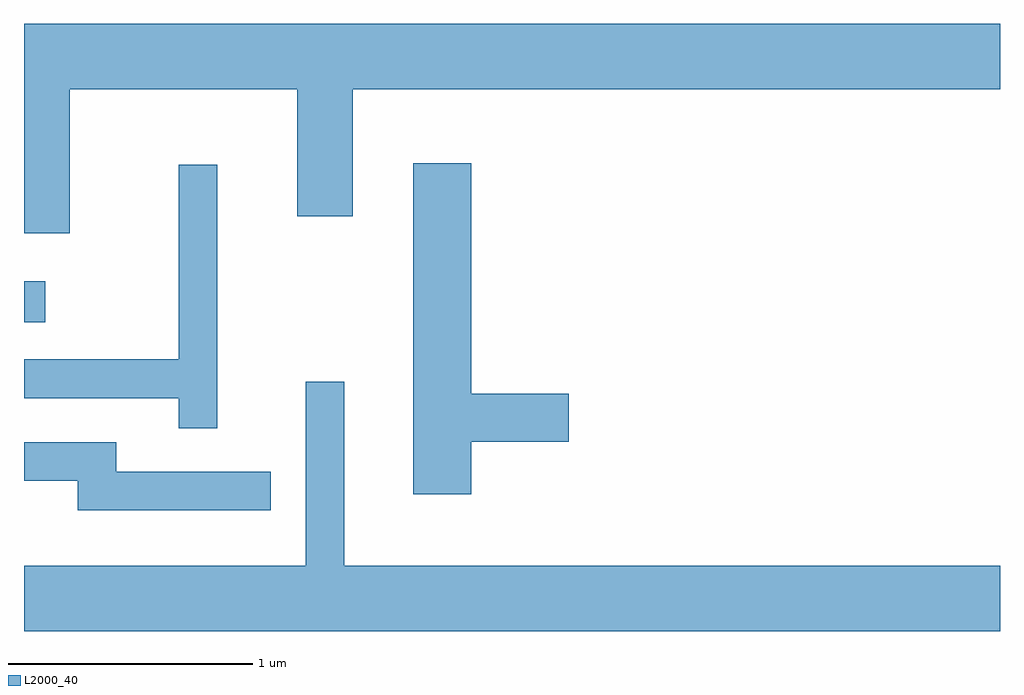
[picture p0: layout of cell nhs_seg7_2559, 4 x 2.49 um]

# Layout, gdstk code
import gdstk
lib = gdstk.Library(unit=1e-6, precision=1e-09)
def R(c, l, rs):  # rectangles x0, y0, x1, y1
    for r in rs: c.add(gdstk.rectangle(r[:2], r[2:], *l))
def P(c, l, *ps):  # polygons
    for p in ps: c.add(gdstk.Polygon(p, *l))
L2000_40 = (2000, 40)

nhs_seg7_2559 = lib.new_cell('nhs_seg7_2559')
R(nhs_seg7_2559, L2000_40, [(263.611,1715.581,263.698,1715.749)])
P(nhs_seg7_2559, L2000_40, [(263.799,1716.536),(264.731,1716.536),(264.731,1716.016),(264.959,1716.016),(264.959,1716.536),(267.611,1716.536),(267.611,1716.804),(263.611,1716.804),(263.611,1715.946),(263.799,1715.946)],
  [(265.444,1715.091),(265.844,1715.091),(265.844,1715.289),(265.444,1715.289),(265.444,1716.234),(265.206,1716.234),(265.206,1714.876),(265.444,1714.876)],
  [(264.404,1716.228),(264.246,1716.228),(264.246,1715.429),(263.611,1715.429),(263.611,1715.271),(264.246,1715.271),(264.246,1715.148),(264.404,1715.148)],
  [(267.611,1714.584),(264.924,1714.584),(264.924,1715.338),(264.766,1715.338),(264.766,1714.584),(263.611,1714.584),(263.611,1714.316),(267.611,1714.316)],
  [(264.623,1714.969),(263.989,1714.969),(263.989,1715.089),(263.611,1715.089),(263.611,1714.931),(263.831,1714.931),(263.831,1714.811),(264.623,1714.811)])

lib.write_gds('nhs_seg7_2559.gds')
